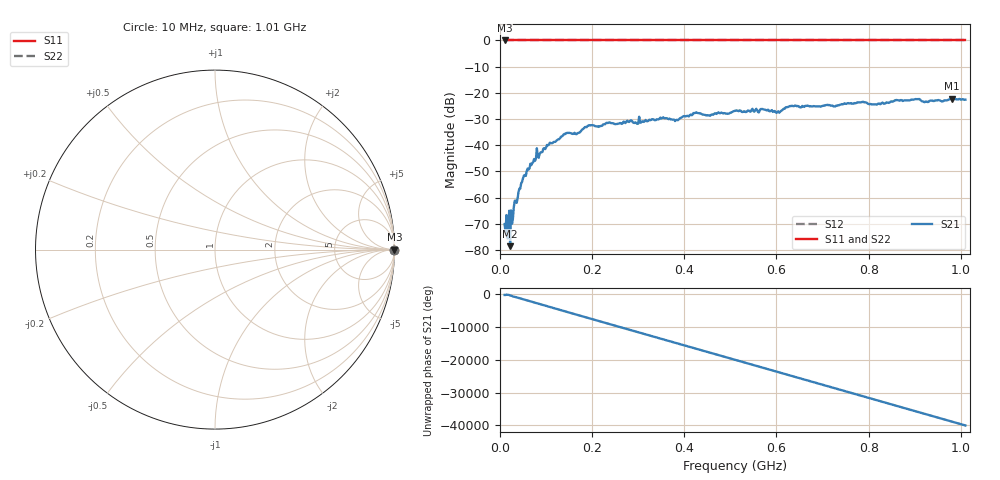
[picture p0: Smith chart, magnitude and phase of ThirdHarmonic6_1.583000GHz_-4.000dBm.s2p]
! 8/16/2025 6:50:28 PM
! C:\ANRITSUVNA\TEMP\TEMP.S2P
! CHANNEL.1
! TR.MEASUREMENT
! RAW.DATA
! RF.CORRECTION.OFF
! AVERAGING.OFF
! IF.BANDWIDTH: 5KHZ
! SWEEPTYPE:  FREQ.SWEEP(Linear)
! Reference Plane Port Info
! PORT:  PORT1  PORT2
! DISTANCE:  0  m  0  m
! TIME:  0  s  0  s
! PHASE.OFFSET:  0  deg.  0  deg.
! LOSS:  0  dB  0  dB
! REF.LOSS:  0  dB  0  dB
! REF.FREQ:  0  Hz  0  Hz
! Power Info
! POWER:  -20  dBm  -20  dBm
! EFF.POWER:  -20  dBm  -20  dBm
! SOURCE.ATTEN:  0  dB  0  dB
! TEST.ATTEN:  0  dB  0  dB
# GHZ S RI R 50.0
! FREQ.GHZ  S11RE  S11IM  S21RE  S21IM  S12RE  S12IM  S22RE  S22IM
!; PortSelection: Port_12
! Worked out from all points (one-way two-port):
!   501 points, 10 MHz to 1.01 GHz, reference 50 ohm
!   highest |S21| = -22.18 dB at 980 MHz (marker M1); lowest = -78.5 dB at 22 MHz (marker M2)
!   lowest |S11| = 0.0 dB at 10 MHz (marker M3)
!   |S11| at or under -10 dB: nowhere
!   |S22| runs from 0.0 to 0.0 dB; largest |S21 - S12| = 1.1
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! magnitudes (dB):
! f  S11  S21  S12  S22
! 10 MHz  0.0  -70.1  0.0  0.0
! 14 MHz  0.0  -66.6  0.0  0.0
! 22 MHz  0.0  -78.5  0.0  0.0
! 26 MHz  0.0  -70.0  0.0  0.0
! 28 MHz  0.0  -68.1  0.0  0.0
! 34 MHz  0.0  -61.2  0.0  0.0
! 50 MHz  0.0  -52.5  0.0  0.0
! 76 MHz  0.0  -45.9  0.0  0.0
! 142 MHz  0.0  -35.7  0.0  0.0
! 178 MHz  0.0  -34.1  0.0  0.0
! 196 MHz  0.0  -32.4  0.0  0.0
! 344 MHz  0.0  -30.1  0.0  0.0
! 384 MHz  0.0  -30.3  0.0  0.0
! 424 MHz  0.0  -27.6  0.0  0.0
! 452 MHz  0.0  -28.6  0.0  0.0
! 510 MHz  0.0  -26.9  0.0  0.0
! 604 MHz  0.0  -27.0  0.0  0.0
! 630 MHz  0.0  -25.0  0.0  0.0
! 678 MHz  0.0  -25.2  0.0  0.0
! 844 MHz  0.0  -23.8  0.0  0.0
! 980 MHz  0.0  -22.2  0.0  0.0
! 1.01 GHz  0.0  -22.6  0.0  0.0
